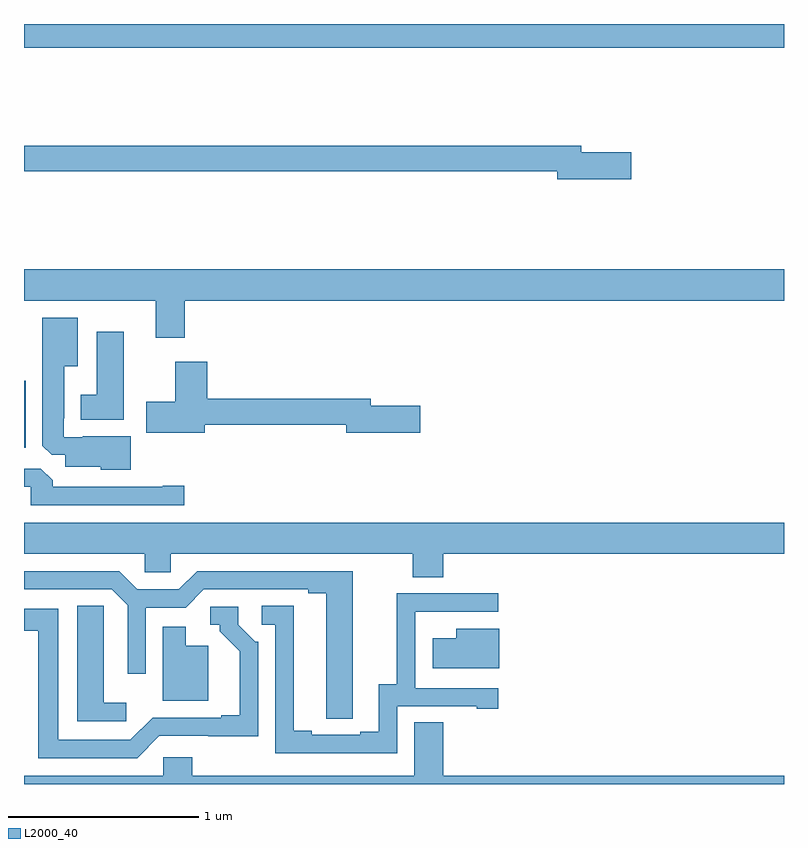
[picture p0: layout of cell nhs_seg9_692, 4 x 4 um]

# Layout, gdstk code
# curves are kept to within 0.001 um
import gdstk
lib = gdstk.Library(unit=1e-6, precision=1e-09)
def R(c, l, rs):  # rectangles x0, y0, x1, y1
    for r in rs: c.add(gdstk.rectangle(r[:2], r[2:], *l))
def P(c, l, *ps):  # polygons
    for p in ps: c.add(gdstk.Polygon(p, *l))
L2000_40 = (2000, 40)

nhs_seg9_692 = lib.new_cell('nhs_seg9_692')
R(nhs_seg9_692, L2000_40, [(145,1238.27,145.009,1238.623), (145,1240.376,149,1240.5)])
P(nhs_seg9_692, L2000_40, [(148.195,1239.824),(147.934,1239.824),(147.934,1239.86),(145,1239.86),(145,1239.724),(147.806,1239.724),(147.806,1239.682),(148.195,1239.682)],
  [(145.847,1239.044),(149,1239.044),(149,1239.208),(145,1239.208),(145,1239.044),(145.694,1239.044),(145.694,1238.85),(145.847,1238.85)],
  [(145.561,1238.329),(145.309,1238.329),(145.309,1238.325),(145.209,1238.325),(145.209,1238.425),(145.213,1238.425),(145.213,1238.699),(145.282,1238.699),(145.282,1238.953),(145.097,1238.953),(145.097,1238.281),(145.146,1238.232),(145.217,1238.232),(145.217,1238.171),(145.404,1238.171),(145.404,1238.153),(145.561,1238.153)],
  [(145.525,1238.881),(145.382,1238.881),(145.382,1238.548),(145.298,1238.548),(145.298,1238.417),(145.525,1238.417)],
  [(145.951,1238.392),(146.696,1238.392),(146.696,1238.35),(147.085,1238.35),(147.085,1238.492),(146.824,1238.492),(146.824,1238.528),(145.964,1238.528),(145.964,1238.722),(145.796,1238.722),(145.796,1238.511),(145.644,1238.511),(145.644,1238.348),(145.951,1238.348)],
  [(145.843,1238.069),(145.73,1238.069),(145.73,1238.064),(145.151,1238.064),(145.151,1238.098),(145.089,1238.16),(145,1238.16),(145,1238.064),(145.035,1238.064),(145.035,1237.968),(145.843,1237.968)],
  [(147.206,1237.712),(149,1237.712),(149,1237.876),(145,1237.876),(145,1237.712),(145.635,1237.712),(145.635,1237.614),(145.773,1237.614),(145.773,1237.712),(147.046,1237.712),(147.046,1237.588),(147.206,1237.588)],
  [(146.73,1236.952),(146.731,1237.62),(145.911,1237.62),(145.815,1237.524),(145.597,1237.524),(145.501,1237.62),(145,1237.62),(145,1237.524),(145.461,1237.524),(145.545,1237.44),(145.545,1237.08),(145.641,1237.08),(145.641,1237.428),(145.851,1237.428),(145.947,1237.524),(146.495,1237.524),(146.495,1237.504),(146.591,1237.504),(146.591,1236.844),(146.73,1236.844)],
  [(146.964,1236.909),(147.383,1236.909),(147.383,1236.897),(147.496,1236.897),(147.496,1237.005),(147.06,1237.005),(147.06,1237.406),(147.062,1237.406),(147.062,1237.407),(147.496,1237.407),(147.496,1237.503),(146.962,1237.503),(146.962,1237.025),(146.867,1237.025),(146.867,1236.774),(146.771,1236.774),(146.771,1236.759),(146.515,1236.759),(146.515,1236.779),(146.419,1236.779),(146.419,1237.439),(146.25,1237.439),(146.25,1237.338),(146.322,1237.338),(146.322,1236.663),(146.964,1236.663)],
  [(145.537,1236.928),(145.42,1236.928),(145.42,1237.331),(145.419,1237.331),(145.419,1237.439),(145.28,1237.439),(145.28,1236.831),(145.537,1236.831)],
  [(145.713,1236.753),(146.232,1236.752),(146.232,1237.248),(146.217,1237.248),(146.127,1237.338),(146.127,1237.434),(145.98,1237.434),(145.98,1237.338),(146.03,1237.338),(146.03,1237.303),(146.135,1237.198),(146.135,1236.862),(146.039,1236.862),(146.039,1236.849),(145.677,1236.849),(145.56,1236.732),(145.18,1236.732),(145.18,1237.422),(145.002,1237.422),(145.002,1237.306),(145.076,1237.306),(145.076,1236.636),(145.596,1236.636)],
  [(145.969,1237.228),(145.852,1237.228),(145.852,1237.327),(145.73,1237.327),(145.73,1236.938),(145.969,1236.938)],
  [(147.502,1237.318),(147.275,1237.318),(147.275,1237.267),(147.15,1237.267),(147.15,1237.109),(147.502,1237.109)],
  [(145,1236.5),(149,1236.5),(149,1236.544),(147.206,1236.544),(147.206,1236.824),(147.053,1236.824),(147.053,1236.544),(145.886,1236.544),(145.886,1236.642),(145.734,1236.642),(145.734,1236.544),(145,1236.544)])

lib.write_gds('nhs_seg9_692.gds')
